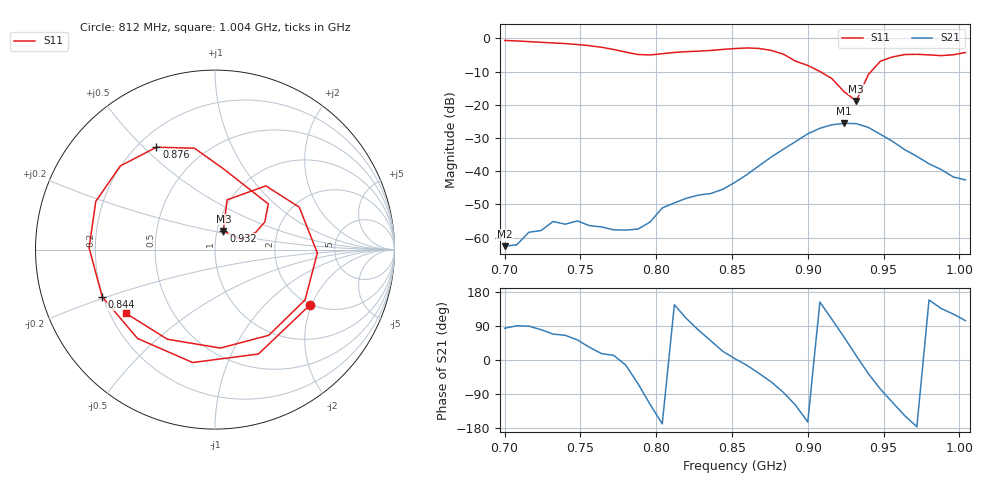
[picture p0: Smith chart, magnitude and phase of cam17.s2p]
# Hz S RI R 50
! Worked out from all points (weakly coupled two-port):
!   39 points, 700 MHz to 1.004 GHz, reference 50 ohm
!   highest |S21| = -25.58 dB at 924 MHz (marker M1); lowest = -62.6 dB at 700 MHz (marker M2)
!   lowest |S11| = -18.8 dB at 932 MHz (marker M3), VSWR 1.26, Z = 53.6 + j11.3 ohm
!   |S11| at or under -10 dB: 908.1 MHz to 941.8 MHz (33.64 MHz wide, 3.64 % of centre)
!   S12 and S22 are empty: the file has one direction only
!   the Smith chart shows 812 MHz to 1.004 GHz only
!   S11 on the Smith chart (normalised r, x): 812 MHz: 1.99, -1.95; 844 MHz: 0.20, -0.19; 876 MHz: 0.27, +0.55; 932 MHz: 1.07, +0.23; 1.004 GHz: 0.26, -0.30
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7e8  0.7643 0.528  8.07e-05 0.000739  0 0  0 0
7.24e8  0.8334 -0.2564  0.000221 0.00126  0 0  0 0
7.4e8  0.4467 -0.7031  0.000669 0.00145  0 0  0 0
7.56e8  -0.1977 -0.7494  0.00126 0.000837  0 0  0 0
7.72e8  -0.653 -0.1859  0.00128 0.000277  0 0  0 0
7.8e8  -0.5738 0.2349  0.00126 -0.000311  0 0  0 0
7.88e8  -0.2202 0.5269  0.000619 -0.00119  0 0  0 0
7.96e8  0.2618 0.4976  -0.000788 -0.00153  0 0  0 0
8.04e8  0.5698 0.1393  -0.00274 -0.000557  0 0  0 0
8.12e8  0.5314 -0.306  -0.00276 0.00188  0 0  0 0
8.28e8  -0.1246 -0.6292  0.000869 0.00429  0 0  0 0
8.44e8  -0.6282 -0.2629  0.00493 0.00206  0 0  0 0
8.52e8  -0.7016 0.0102  0.00679 0.000392  0 0  0 0
8.76e8  -0.326 0.5706  0.00864 -0.0139  0 0  0 0
9e8  0.2969 0.2543  -0.0351 -0.0102  0 0  0 0
9.08e8  0.2776 0.1542  -0.0394 0.0201  0 0  0 0
9.24e8  0.1474 0.054  0.0262 0.0456  0 0  0 0
9.32e8  0.0465 0.1044  0.0509 0.0101  0 0  0 0
9.4e8  0.0673 0.2772  0.0368 -0.0269  0 0  0 0
9.56e8  0.4695 0.2362  -0.0106 -0.026  0 0  0 0
9.8e8  0.2995 -0.4774  -0.012 0.00476  0 0  0 0
1.004e9  -0.4986 -0.3535  -0.0018 0.00718  0 0  0 0
